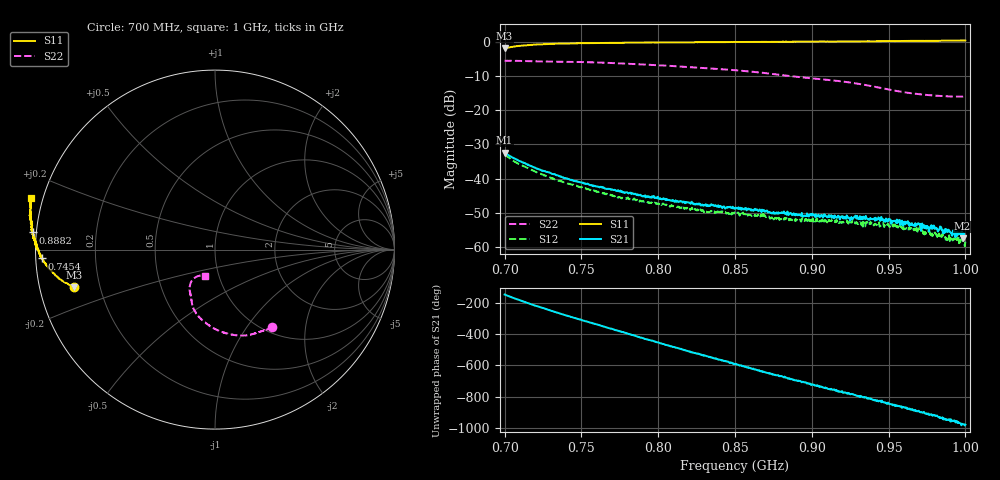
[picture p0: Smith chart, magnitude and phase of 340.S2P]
! C:\Users\rflab\Downloads\Lab5_KD_ZW\Q2\728 MHz\340.S2P
! Touchstone 1.1 file saved by VNA.EXE V1.65 (www.ke5fx.com/gpib/readme.htm)
! 11/18/2024 9:31:25 PM
!  Source: HEWLETT PACKARD,8753D,0,6.14
!  Min freq: 7.000000E+008 Hz
!  Max freq: 1.000000E+009 Hz
!  Points: 801
!  Params: S11 S21 S12 S22
# GHZ S MA R 50
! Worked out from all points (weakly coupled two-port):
!   801 points, 700 MHz to 1 GHz, reference 50 ohm
!   highest |S21| = -32.42 dB at 700 MHz (marker M1); lowest = -57.5 dB at 998.1 MHz (marker M2)
!   lowest |S11| = -1.8 dB at 700 MHz (marker M3), VSWR 9.75, Z = 5.22 - j6.47 ohm
!   |S11| at or under -10 dB: nowhere
!   |S22| runs from -16.0 to -5.4 dB; largest |S21 - S12| = 0.0076
!   S11 on the Smith chart (normalised r, x): 700 MHz: 0.10, -0.13; 745.4 MHz: 0.02, -0.03; 888.2 MHz: -0.01, +0.05; 1 GHz: -0.03, +0.14
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0.7  0.8139 -165.1  0.02393 -147.4  0.02249 -165.4  0.5367 -53.5
0.71875  0.9224 -172.7  0.01473 146.0  0.01307 125.7  0.5264 -58.7
0.745375  0.9647 -177.1  0.009182 63.6  0.007826 45.2  0.5151 -66.2
0.75025  0.9705 -177.7  0.008782 50.3  0.007508 30.4  0.5126 -67.9
0.775375  0.983 -179.9  0.006658 -22.8  0.005267 -41.2  0.4901 -76.6
0.800125  0.9949 178.8  0.005118 -92.8  0.00431 -112.4  0.4602 -85.3
0.83125  1.004 177.2  0.003982 -179.8  0.003277 164.6  0.4172 -96.0
0.85  1.013 176.5  0.00359 128.6  0.003077 116.0  0.3899 -102.5
0.88825  1.02 174.6  0.00309 29.5  0.002434 11.9  0.3154 -114.4
0.90025  1.023 174.2  0.002974 -2.3  0.00251 -14.9  0.2953 -117.0
0.925375  1.03 172.9  0.002591 -62.4  0.002267 -78.9  0.256 -123.7
0.928375  1.028 172.6  0.002855 -68.4  0.002185 -87.7  0.2498 -124.4
0.950125  1.045 170.7  0.002564 -125.4  0.002057 -136.4  0.2029 -126.4
0.961375  1.045 169.6  0.002187 -149.0  0.001846 -162.3  0.183 -124.4
0.97075  1.048 169.0  0.002168 -177.8  0.001829 162.4  0.1723 -121.6
0.973375  1.049 168.5  0.001874 177.5  0.001509 156.3  0.1698 -120.8
0.976  1.05 168.3  0.001912 172.7  0.001675 151.1  0.168 -120.0
0.979  1.052 168.1  0.001863 161.2  0.001515 147.1  0.1658 -119.1
0.987625  1.056 166.7  0.001722 136.3  0.001391 116.1  0.161 -116.1
0.994  1.059 165.6  0.00164 125.3  0.001399 96.2  0.1599 -113.8
0.998125  1.061 164.8  0.001331 104.8  0.001382 87.1  0.1597 -112.1
1  1.063 164.4  0.001414 102.2  0.001185 76.2  0.1601 -111.3
